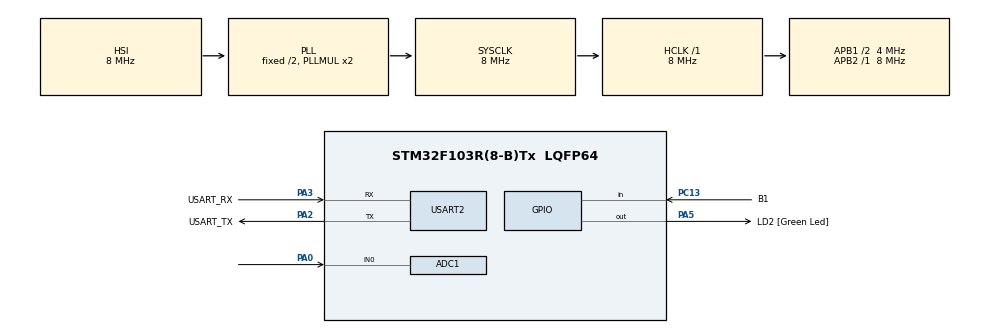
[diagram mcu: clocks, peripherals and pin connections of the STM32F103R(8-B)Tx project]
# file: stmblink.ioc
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ADC1.Channel-1\#ChannelRegularConversion=ADC_CHANNEL_0
ADC1.NbrOfConversionFlag=1
ADC1.Rank-1\#ChannelRegularConversion=1
ADC1.SamplingTime-1\#ChannelRegularConversion=ADC_SAMPLETIME_1CYCLE_5
ADC1.master=1
Mcu.Family=STM32F1
Mcu.Name=STM32F103R(8-B)Tx
Mcu.Package=LQFP64
NVIC.PriorityGroup=NVIC_PRIORITYGROUP_4
PA0-WKUP.Signal=ADCx_IN0
PA13.GPIO_Label=TMS
PA13.Mode=Serial_Wire
PA13.Signal=SYS_JTMS-SWDIO
PA14.GPIO_Label=TCK
PA14.Mode=Serial_Wire
PA14.Signal=SYS_JTCK-SWCLK
PA2.GPIO_Label=USART_TX
PA2.GPIO_Mode=GPIO_MODE_AF_PP
PA2.GPIO_PuPd=GPIO_NOPULL
PA2.GPIO_Speed=GPIO_SPEED_FREQ_LOW
PA2.Mode=Asynchronous
PA2.Signal=USART2_TX
PA3.GPIO_Label=USART_RX
PA3.GPIO_Mode=GPIO_MODE_AF_PP
PA3.GPIO_PuPd=GPIO_NOPULL
PA3.GPIO_Speed=GPIO_SPEED_FREQ_LOW
PA3.Mode=Asynchronous
PA3.Signal=USART2_RX
PA5.GPIO_Label=LD2 [Green Led]
PA5.GPIO_ModeDefaultOutputPP=GPIO_MODE_OUTPUT_PP
PA5.GPIO_PuPd=GPIO_NOPULL
PA5.GPIO_Speed=GPIO_SPEED_FREQ_LOW
PA5.Signal=GPIO_Output
PB3.GPIO_Label=SWO
PB3.Signal=SYS_JTDO-TRACESWO
PC13-TAMPER-RTC.GPIO_Label=B1
PC13-TAMPER-RTC.Signal=GPIO_Input
PC14-OSC32_IN.Mode=LSE-External-Oscillator
PC14-OSC32_IN.Signal=RCC_OSC32_IN
PC15-OSC32_OUT.Mode=LSE-External-Oscillator
PC15-OSC32_OUT.Signal=RCC_OSC32_OUT
PD0-OSC_IN.Mode=HSE-External-Clock-Source
PD0-OSC_IN.Signal=RCC_OSC_IN
PD1-OSC_OUT.Mode=HSE-External-Clock-Source
PD1-OSC_OUT.Signal=RCC_OSC_OUT
ProjectManager.HeapSize=0x200
ProjectManager.StackSize=0x400
ProjectManager.TargetToolchain=STM32CubeIDE
RCC.AHBFreq_Value=8000000
RCC.APB1CLKDivider=RCC_HCLK_DIV2
RCC.APB1Freq_Value=4000000
RCC.APB1TimFreq_Value=8000000
RCC.APB2Freq_Value=8000000
RCC.APB2TimFreq_Value=8000000
RCC.HCLKFreq_Value=8000000
RCC.RTCClockSelection=RCC_RTCCLKSOURCE_LSE
RCC.SYSCLKFreq_VALUE=8000000
RCC.SYSCLKSource=RCC_SYSCLKSOURCE_PLLCLK
RCC.USBFreq_Value=8000000
SH.ADCx_IN0.0=ADC1_IN0,IN0
USART2.VirtualMode=VM_ASYNC
board=NUCLEO-F103RB

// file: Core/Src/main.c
/* USER CODE BEGIN Header */
/**
  ******************************************************************************
  * @file           : main.c
  * @brief          : Main program body
  ******************************************************************************
  * @attention
  *
  * Copyright (c) 2026 STMicroelectronics.
  * All rights reserved.
  *
  * This software is licensed under terms that can be found in the LICENSE file
  * in the root directory of this software component.
  * If no LICENSE file comes with this software, it is provided AS-IS.
  *
  ******************************************************************************
  */
/* USER CODE END Header */
#include "main.h"

ADC_HandleTypeDef hadc1;

UART_HandleTypeDef huart2;

/* USER CODE BEGIN PV */
uint16_t adc_ham_deger = 0;          // 0 - 4095 ham ADC verisi
float direnc_voltaji_V = 0.0f;       // 10k direnç üzerindeki gerilim (V)
float devre_akimi_mA = 0.0f;         // Seri devreden geçen ortak akım (mA)
float toplam_direnc_Ohm = 0.0f;      // R_pot + R_10k toplam direnç (Ohm)
float sadece_pot_direnci_Ohm = 0.0f; // Potansiyometrenin anlık direnci (Ohm)

const float SABIT_DIRENC_OHM = 20000.0f; // 20k Ohm sabit direnç
const float BESLEME_VOLTAJI = 3.3f;      // 3.3V kaynak gerilimi
const float ESIK_VOLTAJ = 2.5f;         // LED eşik gerilimi
/* USER CODE END PV */

void SystemClock_Config(void);
static void MX_GPIO_Init(void);
static void MX_USART2_UART_Init(void);
static void MX_ADC1_Init(void);

int main(void)
{

  /* MCU Configuration--------------------------------------------------------*/

  /* Reset of all peripherals, Initializes the Flash interface and the Systick. */
  HAL_Init();

  /* Configure the system clock */
  SystemClock_Config();

  /* Initialize all configured peripherals */
  MX_GPIO_Init();
  MX_USART2_UART_Init();
  MX_ADC1_Init();
  /* USER CODE BEGIN 2 */
    // Başlangıçta bir kez çalışacak kodlar buraya yazılır (Şu an boş kalabilir)
  /* USER CODE END 2 */

  /* Infinite loop */
    while (1)
    {

      /* USER CODE BEGIN 3 */
      HAL_ADC_Start(&hadc1);

      if (HAL_ADC_PollForConversion(&hadc1, 10) == HAL_OK)
      {
        adc_ham_deger = HAL_ADC_GetValue(&hadc1);

        // 1. 10k direnç üzerindeki voltaj (PA0 ile GND arası)
        direnc_voltaji_V = ((float)adc_ham_deger / 4095.0f) * BESLEME_VOLTAJI;

        // 2. Sabit 10k direnç üzerinden geçen akım (Amper ve mA)
        float akim_Amper = direnc_voltaji_V / SABIT_DIRENC_OHM;
        devre_akimi_mA = akim_Amper * 1000.0f;

        // 3. R_toplam = 3.3V / I (Sıfıra bölme korumalı)
        if (akim_Amper > 0.000001f)
        {
          toplam_direnc_Ohm = BESLEME_VOLTAJI / akim_Amper;
          sadece_pot_direnci_Ohm = toplam_direnc_Ohm - SABIT_DIRENC_OHM;
        }
        else
        {
          toplam_direnc_Ohm = 999999.0f; // Açık devre sınırı
          sadece_pot_direnci_Ohm = 999999.0f;
        }

        // 4. Threshold (Eşik) LED kontrolü
        if (direnc_voltaji_V > ESIK_VOLTAJ)
        {
          HAL_GPIO_WritePin(LD2_GPIO_Port, LD2_Pin, GPIO_PIN_SET);
        }
        else
        {
          HAL_GPIO_WritePin(LD2_GPIO_Port, LD2_Pin, GPIO_PIN_RESET);
        }
      }

      HAL_ADC_Stop(&hadc1);
      HAL_Delay(50);
      /* USER CODE END 3 */
    }
  }
void SystemClock_Config(void)
{
  RCC_OscInitTypeDef RCC_OscInitStruct = {0};
  RCC_ClkInitTypeDef RCC_ClkInitStruct = {0};
  RCC_PeriphCLKInitTypeDef PeriphClkInit = {0};

  /** Initializes the RCC Oscillators according to the specified parameters
  * in the RCC_OscInitTypeDef structure.
  */
  RCC_OscInitStruct.OscillatorType = RCC_OSCILLATORTYPE_HSI;
  RCC_OscInitStruct.HSIState = RCC_HSI_ON;
  RCC_OscInitStruct.HSICalibrationValue = RCC_HSICALIBRATION_DEFAULT;
  RCC_OscInitStruct.PLL.PLLState = RCC_PLL_ON;
  RCC_OscInitStruct.PLL.PLLSource = RCC_PLLSOURCE_HSI_DIV2;
  RCC_OscInitStruct.PLL.PLLMUL = RCC_PLL_MUL2;
  if (HAL_RCC_OscConfig(&RCC_OscInitStruct) != HAL_OK)
  {
    Error_Handler();
  }

  /** Initializes the CPU, AHB and APB buses clocks
  */
  RCC_ClkInitStruct.ClockType = RCC_CLOCKTYPE_HCLK|RCC_CLOCKTYPE_SYSCLK
                              |RCC_CLOCKTYPE_PCLK1|RCC_CLOCKTYPE_PCLK2;
  RCC_ClkInitStruct.SYSCLKSource = RCC_SYSCLKSOURCE_PLLCLK;
  RCC_ClkInitStruct.AHBCLKDivider = RCC_SYSCLK_DIV1;
  RCC_ClkInitStruct.APB1CLKDivider = RCC_HCLK_DIV2;
  RCC_ClkInitStruct.APB2CLKDivider = RCC_HCLK_DIV1;

  if (HAL_RCC_ClockConfig(&RCC_ClkInitStruct, FLASH_LATENCY_0) != HAL_OK)
  {
    Error_Handler();
  }
  PeriphClkInit.PeriphClockSelection = RCC_PERIPHCLK_ADC;
  PeriphClkInit.AdcClockSelection = RCC_ADCPCLK2_DIV2;
  if (HAL_RCCEx_PeriphCLKConfig(&PeriphClkInit) != HAL_OK)
  {
    Error_Handler();
  }
}

static void MX_ADC1_Init(void)
{

  ADC_ChannelConfTypeDef sConfig = {0};

  /** Common config
  */
  hadc1.Instance = ADC1;
  hadc1.Init.ScanConvMode = ADC_SCAN_DISABLE;
  hadc1.Init.ContinuousConvMode = DISABLE;
  hadc1.Init.DiscontinuousConvMode = DISABLE;
  hadc1.Init.ExternalTrigConv = ADC_SOFTWARE_START;
  hadc1.Init.DataAlign = ADC_DATAALIGN_RIGHT;
  hadc1.Init.NbrOfConversion = 1;
  if (HAL_ADC_Init(&hadc1) != HAL_OK)
  {
    Error_Handler();
  }

  /** Configure Regular Channel
  */
  sConfig.Channel = ADC_CHANNEL_0;
  sConfig.Rank = ADC_REGULAR_RANK_1;
  sConfig.SamplingTime = ADC_SAMPLETIME_1CYCLE_5;
  if (HAL_ADC_ConfigChannel(&hadc1, &sConfig) != HAL_OK)
  {
    Error_Handler();
  }

}

static void MX_USART2_UART_Init(void)
{

  huart2.Instance = USART2;
  huart2.Init.BaudRate = 115200;
  huart2.Init.WordLength = UART_WORDLENGTH_8B;
  huart2.Init.StopBits = UART_STOPBITS_1;
  huart2.Init.Parity = UART_PARITY_NONE;
  huart2.Init.Mode = UART_MODE_TX_RX;
  huart2.Init.HwFlowCtl = UART_HWCONTROL_NONE;
  huart2.Init.OverSampling = UART_OVERSAMPLING_16;
  if (HAL_UART_Init(&huart2) != HAL_OK)
  {
    Error_Handler();
  }

}

static void MX_GPIO_Init(void)
{
  GPIO_InitTypeDef GPIO_InitStruct = {0};

  /* GPIO Ports Clock Enable */
  __HAL_RCC_GPIOC_CLK_ENABLE();
  __HAL_RCC_GPIOD_CLK_ENABLE();
  __HAL_RCC_GPIOA_CLK_ENABLE();
  __HAL_RCC_GPIOB_CLK_ENABLE();

  /*Configure GPIO pin Output Level */
  HAL_GPIO_WritePin(LD2_GPIO_Port, LD2_Pin, GPIO_PIN_RESET);

  /*Configure GPIO pin : B1_Pin */
  GPIO_InitStruct.Pin = B1_Pin;
  GPIO_InitStruct.Mode = GPIO_MODE_INPUT;
  GPIO_InitStruct.Pull = GPIO_NOPULL;
  HAL_GPIO_Init(B1_GPIO_Port, &GPIO_InitStruct);

  /*Configure GPIO pin : LD2_Pin */
  GPIO_InitStruct.Pin = LD2_Pin;
  GPIO_InitStruct.Mode = GPIO_MODE_OUTPUT_PP;
  GPIO_InitStruct.Pull = GPIO_NOPULL;
  GPIO_InitStruct.Speed = GPIO_SPEED_FREQ_LOW;
  HAL_GPIO_Init(LD2_GPIO_Port, &GPIO_InitStruct);

}

void Error_Handler(void)
{
  __disable_irq();
  while (1)
  {
  }
}
